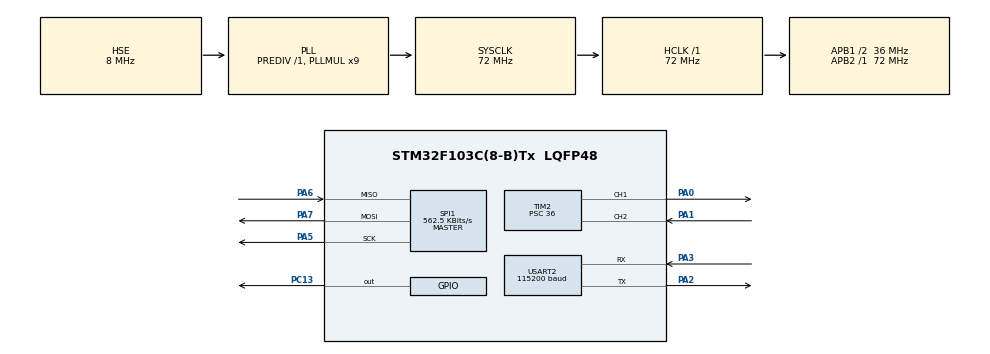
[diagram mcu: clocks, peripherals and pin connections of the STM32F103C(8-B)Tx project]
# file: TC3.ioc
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Mcu.Family=STM32F1
Mcu.Name=STM32F103C(8-B)Tx
Mcu.Package=LQFP48
NVIC.PriorityGroup=NVIC_PRIORITYGROUP_4
NVIC.USART2_IRQn=true\:0\:0\:false\:false\:true\:true\:true
PA0-WKUP.Signal=S_TIM2_CH1_ETR
PA1.Signal=S_TIM2_CH2
PA13.Mode=Serial_Wire
PA13.Signal=SYS_JTMS-SWDIO
PA14.Mode=Serial_Wire
PA14.Signal=SYS_JTCK-SWCLK
PA2.Mode=Asynchronous
PA2.Signal=USART2_TX
PA3.Mode=Asynchronous
PA3.Signal=USART2_RX
PA5.Mode=Full_Duplex_Master
PA5.Signal=SPI1_SCK
PA6.Mode=Full_Duplex_Master
PA6.Signal=SPI1_MISO
PA7.Mode=Full_Duplex_Master
PA7.Signal=SPI1_MOSI
PC13-TAMPER-RTC.GPIO_Speed=GPIO_SPEED_FREQ_HIGH
PC13-TAMPER-RTC.PinState=GPIO_PIN_SET
PC13-TAMPER-RTC.Signal=GPIO_Output
PD0-OSC_IN.Mode=HSE-External-Oscillator
PD0-OSC_IN.Signal=RCC_OSC_IN
PD1-OSC_OUT.Mode=HSE-External-Oscillator
PD1-OSC_OUT.Signal=RCC_OSC_OUT
ProjectManager.HeapSize=0x200
ProjectManager.StackSize=0x400
ProjectManager.TargetToolchain=SW4STM32
RCC.AHBFreq_Value=72000000
RCC.APB1CLKDivider=RCC_HCLK_DIV2
RCC.APB1Freq_Value=36000000
RCC.APB1TimFreq_Value=72000000
RCC.APB2Freq_Value=72000000
RCC.APB2TimFreq_Value=72000000
RCC.HCLKFreq_Value=72000000
RCC.PLLMUL=RCC_PLL_MUL9
RCC.PLLSourceVirtual=RCC_PLLSOURCE_HSE
RCC.SYSCLKFreq_VALUE=72000000
RCC.SYSCLKSource=RCC_SYSCLKSOURCE_PLLCLK
RCC.USBFreq_Value=72000000
SH.S_TIM2_CH1_ETR.0=TIM2_CH1,Output Compare1 CH1
SH.S_TIM2_CH2.0=TIM2_CH2,TriggerSource_TI2FP2
SPI1.BaudRatePrescaler=SPI_BAUDRATEPRESCALER_128
SPI1.CLKPhase=SPI_PHASE_2EDGE
SPI1.CalculateBaudRate=562.5 KBits/s
SPI1.DataSize=SPI_DATASIZE_16BIT
SPI1.Direction=SPI_DIRECTION_2LINES
SPI1.Mode=SPI_MODE_MASTER
SPI1.VirtualType=VM_MASTER
TIM2.Channel-Output\ Compare1\ CH1=TIM_CHANNEL_1
TIM2.OCMode_1=TIM_OCMODE_TOGGLE
TIM2.OCPolarity_1=TIM_OCPOLARITY_LOW
TIM2.Period=65535
TIM2.Prescaler=36
USART2.BaudRate=115200
USART2.VirtualMode=VM_ASYNC
VP_TIM2_VS_ClockSourceINT.Mode=Internal
VP_TIM2_VS_ControllerModeReset.Mode=Reset Mode
board=custom

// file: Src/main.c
/* USER CODE BEGIN Header */
/**
  ******************************************************************************
  * @file           : main.c
  * @brief          : Main program body
  ******************************************************************************
  * @attention
  *
  * <h2><center>&copy; Copyright (c) 2019 STMicroelectronics.
  * All rights reserved.</center></h2>
  *
  * This software component is licensed by ST under BSD 3-Clause license,
  * the "License"; You may not use this file except in compliance with the
  * License. You may obtain a copy of the License at:
  *                        opensource.org/licenses/BSD-3-Clause
  *
  ******************************************************************************
  */
/* USER CODE END Header */

#include "main.h"

/* USER CODE BEGIN Includes */
#include "pulse_math.h"
#include "SPITemp.h"
#include <stdbool.h>
#include <stdio.h>
#include <string.h>
#include "uartInterface.h"
#include "pidMath.h"
/* USER CODE END Includes */

SPI_HandleTypeDef hspi1;

TIM_HandleTypeDef htim2;

UART_HandleTypeDef huart2;

/* USER CODE BEGIN PV */
CCRxData ccr3Data;
uint8_t *SPIData1;
uint8_t *SPIData2;
UartInfo uart;
PidInfo pidInfo;
bool resetState;
/* USER CODE END PV */

void SystemClock_Config(void);
static void MX_GPIO_Init(void);
static void MX_SPI1_Init(void);
static void MX_USART2_UART_Init(void);
static void MX_TIM2_Init(void);

int main(void)
{
  /* USER CODE BEGIN 1 */
	uint32_t tickValue=0;
	float temp=0.0;
	char tempString[70]="\r\n";
	bool show=false;
	int pidValue=180;
	int i=0;
	resetState=false;
  /* USER CODE END 1 */

  /* MCU Configuration--------------------------------------------------------*/

  /* Reset of all peripherals, Initializes the Flash interface and the Systick. */
  HAL_Init();

  /* Configure the system clock */
  SystemClock_Config();

  /* Initialize all configured peripherals */
  MX_GPIO_Init();
  MX_SPI1_Init();
  MX_USART2_UART_Init();
  MX_TIM2_Init();
  /* USER CODE BEGIN 2 */
  HAL_TIM_Base_Start(&htim2);
  HAL_TIM_OC_Start_IT(&htim2,TIM_CHANNEL_1);
  ccr3Data.firstCCR = 5000;
  ccr3Data.secondCCR = 10000;
  ccr3Data.thirdCCR = 25000;
  ccr3Data.fourthCCR = 30000;	//38900 is practically highest ccr value for toggle before cnt reset to 0. it work only if zero crossing signal from signal generator
  ccr3Data.flag = true;
  ccr3Data.triacOnOff = false;

  HAL_UART_Receive_IT(&huart2,uart.rxData,1);

   pidInfo.setValue=0;
   pidInfo.kp=10;
   pidInfo.ki=0.2;
   pidInfo.kd=0.5;
   pidInfo.errorAcc=0;
   pidInfo.prevError=0;
   pidInfo.prevTime=0;
   pidInfo.reachTemp=false;
  /* USER CODE END 2 */

  /* Infinite loop */
  /* USER CODE BEGIN WHILE */
  while (1)
  {
	  if(uart.transferCplt==true && strcmp(uart.rxBuffer,"start")==0){
		  show=true;
		  uart.transferCplt=false;
	  }
	  else if(uart.transferCplt==true && strncmp(uart.rxBuffer,"set temp ",9)==0){
		  pidInfo.setValue=atoi((uart.rxBuffer)+9);
		  pidInfo.reachTemp=false;
	  }
	  else if(uart.transferCplt==true){
		  show=false;
		  uart.transferCplt=false;
	  }
	  temp = getTemp(&hspi1);
	  tickValue=HAL_GetTick();

	  pidValue = findPIDValue(&pidInfo,temp, tickValue);
	  config_pulse(&ccr3Data,180-pidValue,35);
/*

	  config_pulse(&ccr3Data,i,40);
	  if(resetState==false)
		  i++;
	  else
		  i--;

	  if(i>=150)
		  resetState=true;
	  else if(i<=0)
		  resetState=false;
*/

	  if(show==true){
		  sprintf(tempString,"time:%d, temp = %.2f, fAngle= %d, pidIn=%d, set temp=%d \r\n",tickValue, (double)temp,180-pidValue,(int)pidInfo.errorAcc,(int)pidInfo.setValue);
		  HAL_UART_Transmit(&huart2, tempString, 70, 1000);
	  }
	  HAL_Delay(500);

    /* USER CODE END WHILE */

  }
}

void SystemClock_Config(void)
{
  RCC_OscInitTypeDef RCC_OscInitStruct = {0};
  RCC_ClkInitTypeDef RCC_ClkInitStruct = {0};

  /** Initializes the CPU, AHB and APB busses clocks
  */
  RCC_OscInitStruct.OscillatorType = RCC_OSCILLATORTYPE_HSE;
  RCC_OscInitStruct.HSEState = RCC_HSE_ON;
  RCC_OscInitStruct.HSEPredivValue = RCC_HSE_PREDIV_DIV1;
  RCC_OscInitStruct.HSIState = RCC_HSI_ON;
  RCC_OscInitStruct.PLL.PLLState = RCC_PLL_ON;
  RCC_OscInitStruct.PLL.PLLSource = RCC_PLLSOURCE_HSE;
  RCC_OscInitStruct.PLL.PLLMUL = RCC_PLL_MUL9;
  if (HAL_RCC_OscConfig(&RCC_OscInitStruct) != HAL_OK)
  {
    Error_Handler();
  }
  /** Initializes the CPU, AHB and APB busses clocks
  */
  RCC_ClkInitStruct.ClockType = RCC_CLOCKTYPE_HCLK|RCC_CLOCKTYPE_SYSCLK
                              |RCC_CLOCKTYPE_PCLK1|RCC_CLOCKTYPE_PCLK2;
  RCC_ClkInitStruct.SYSCLKSource = RCC_SYSCLKSOURCE_PLLCLK;
  RCC_ClkInitStruct.AHBCLKDivider = RCC_SYSCLK_DIV1;
  RCC_ClkInitStruct.APB1CLKDivider = RCC_HCLK_DIV2;
  RCC_ClkInitStruct.APB2CLKDivider = RCC_HCLK_DIV1;

  if (HAL_RCC_ClockConfig(&RCC_ClkInitStruct, FLASH_LATENCY_2) != HAL_OK)
  {
    Error_Handler();
  }
}

static void MX_SPI1_Init(void)
{

  /* SPI1 parameter configuration*/
  hspi1.Instance = SPI1;
  hspi1.Init.Mode = SPI_MODE_MASTER;
  hspi1.Init.Direction = SPI_DIRECTION_2LINES;
  hspi1.Init.DataSize = SPI_DATASIZE_16BIT;
  hspi1.Init.CLKPolarity = SPI_POLARITY_LOW;
  hspi1.Init.CLKPhase = SPI_PHASE_2EDGE;
  hspi1.Init.NSS = SPI_NSS_SOFT;
  hspi1.Init.BaudRatePrescaler = SPI_BAUDRATEPRESCALER_128;
  hspi1.Init.FirstBit = SPI_FIRSTBIT_MSB;
  hspi1.Init.TIMode = SPI_TIMODE_DISABLE;
  hspi1.Init.CRCCalculation = SPI_CRCCALCULATION_DISABLE;
  hspi1.Init.CRCPolynomial = 10;
  if (HAL_SPI_Init(&hspi1) != HAL_OK)
  {
    Error_Handler();
  }

}

static void MX_TIM2_Init(void)
{

  TIM_ClockConfigTypeDef sClockSourceConfig = {0};
  TIM_SlaveConfigTypeDef sSlaveConfig = {0};
  TIM_MasterConfigTypeDef sMasterConfig = {0};
  TIM_OC_InitTypeDef sConfigOC = {0};

  htim2.Instance = TIM2;
  htim2.Init.Prescaler = 36;
  htim2.Init.CounterMode = TIM_COUNTERMODE_UP;
  htim2.Init.Period = 65535;
  htim2.Init.ClockDivision = TIM_CLOCKDIVISION_DIV1;
  htim2.Init.AutoReloadPreload = TIM_AUTORELOAD_PRELOAD_DISABLE;
  if (HAL_TIM_Base_Init(&htim2) != HAL_OK)
  {
    Error_Handler();
  }
  sClockSourceConfig.ClockSource = TIM_CLOCKSOURCE_INTERNAL;
  if (HAL_TIM_ConfigClockSource(&htim2, &sClockSourceConfig) != HAL_OK)
  {
    Error_Handler();
  }
  if (HAL_TIM_OC_Init(&htim2) != HAL_OK)
  {
    Error_Handler();
  }
  sSlaveConfig.SlaveMode = TIM_SLAVEMODE_RESET;
  sSlaveConfig.InputTrigger = TIM_TS_TI2FP2;
  sSlaveConfig.TriggerPolarity = TIM_TRIGGERPOLARITY_RISING;
  sSlaveConfig.TriggerFilter = 0;
  if (HAL_TIM_SlaveConfigSynchronization(&htim2, &sSlaveConfig) != HAL_OK)
  {
    Error_Handler();
  }
  sMasterConfig.MasterOutputTrigger = TIM_TRGO_RESET;
  sMasterConfig.MasterSlaveMode = TIM_MASTERSLAVEMODE_DISABLE;
  if (HAL_TIMEx_MasterConfigSynchronization(&htim2, &sMasterConfig) != HAL_OK)
  {
    Error_Handler();
  }
  sConfigOC.OCMode = TIM_OCMODE_TOGGLE;
  sConfigOC.Pulse = 0;
  sConfigOC.OCPolarity = TIM_OCPOLARITY_LOW;
  sConfigOC.OCFastMode = TIM_OCFAST_DISABLE;
  if (HAL_TIM_OC_ConfigChannel(&htim2, &sConfigOC, TIM_CHANNEL_1) != HAL_OK)
  {
    Error_Handler();
  }
  HAL_TIM_MspPostInit(&htim2);

}

static void MX_USART2_UART_Init(void)
{

  huart2.Instance = USART2;
  huart2.Init.BaudRate = 115200;
  huart2.Init.WordLength = UART_WORDLENGTH_8B;
  huart2.Init.StopBits = UART_STOPBITS_1;
  huart2.Init.Parity = UART_PARITY_NONE;
  huart2.Init.Mode = UART_MODE_TX_RX;
  huart2.Init.HwFlowCtl = UART_HWCONTROL_NONE;
  huart2.Init.OverSampling = UART_OVERSAMPLING_16;
  if (HAL_UART_Init(&huart2) != HAL_OK)
  {
    Error_Handler();
  }

}

static void MX_GPIO_Init(void)
{
  GPIO_InitTypeDef GPIO_InitStruct = {0};

  /* GPIO Ports Clock Enable */
  __HAL_RCC_GPIOC_CLK_ENABLE();
  __HAL_RCC_GPIOD_CLK_ENABLE();
  __HAL_RCC_GPIOA_CLK_ENABLE();

  /*Configure GPIO pin Output Level */
  HAL_GPIO_WritePin(GPIOC, GPIO_PIN_13, GPIO_PIN_SET);

  /*Configure GPIO pin : PC13 */
  GPIO_InitStruct.Pin = GPIO_PIN_13;
  GPIO_InitStruct.Mode = GPIO_MODE_OUTPUT_PP;
  GPIO_InitStruct.Pull = GPIO_NOPULL;
  GPIO_InitStruct.Speed = GPIO_SPEED_FREQ_HIGH;
  HAL_GPIO_Init(GPIOC, &GPIO_InitStruct);

}

/* USER CODE BEGIN 4 */
void HAL_TIM_OC_DelayElapsedCallback(TIM_HandleTypeDef *htim){
	TriacTriggerCallback(&ccr3Data);
}

void HAL_UART_RxCpltCallback(UART_HandleTypeDef *huart){

	interruptRxTx(&huart2,&uart);

}
/* USER CODE END 4 */

void Error_Handler(void)
{
}

/************************ (C) COPYRIGHT STMicroelectronics *****END OF FILE****/
